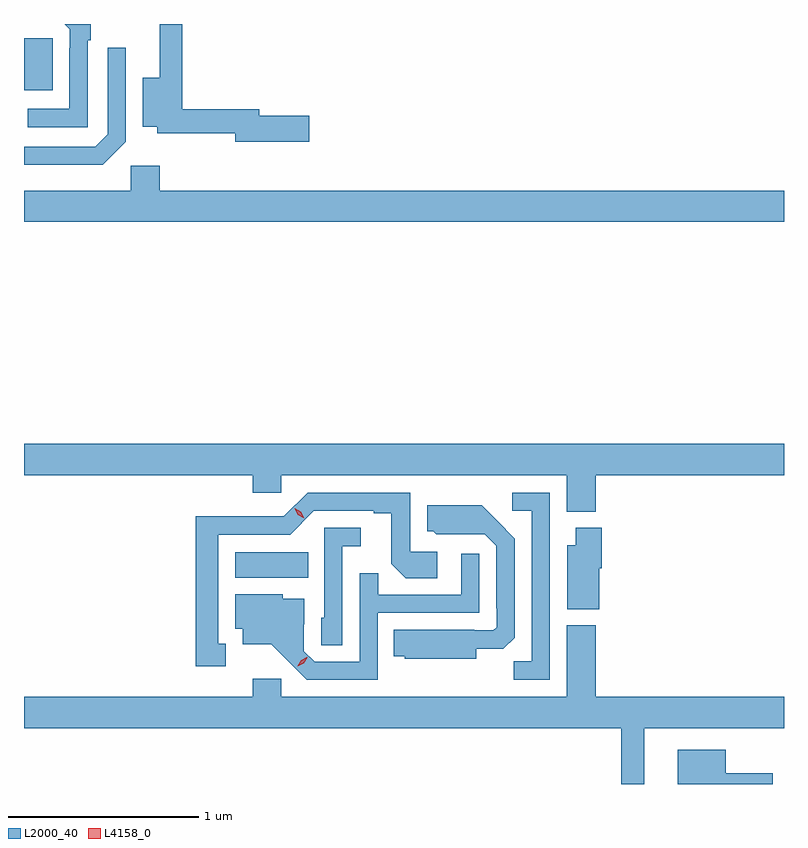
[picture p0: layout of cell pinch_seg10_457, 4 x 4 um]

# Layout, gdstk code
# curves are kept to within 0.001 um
import gdstk
lib = gdstk.Library(unit=1e-6, precision=1e-09)
def R(c, l, rs):  # rectangles x0, y0, x1, y1
    for r in rs: c.add(gdstk.rectangle(r[:2], r[2:], *l))
def P(c, l, *ps):  # polygons
    for p in ps: c.add(gdstk.Polygon(p, *l))
L2000_40 = (2000, 40)
L4158_0 = (4158, 0)

pinch_seg10_457 = lib.new_cell('pinch_seg10_457')
R(pinch_seg10_457, L2000_40, [(289.442,1293.116,289.826,1293.25), (288.331,1295.681,288.481,1295.956)])
P(pinch_seg10_457, L2000_40, [(288.666,1295.945),(288.681,1295.945),(288.681,1296.03),(288.546,1296.03),(288.573,1296.003),(288.573,1295.903),(288.57,1295.903),(288.57,1295.583),(288.351,1295.583),(288.351,1295.487),(288.666,1295.487)],
  [(289.831,1295.546),(289.57,1295.546),(289.57,1295.582),(289.163,1295.582),(289.163,1296.03),(289.046,1296.03),(289.046,1295.746),(288.956,1295.746),(288.956,1295.489),(289.032,1295.489),(289.032,1295.454),(289.442,1295.454),(289.442,1295.411),(289.831,1295.411)],
  [(288.867,1295.409),(288.867,1295.905),(288.771,1295.905),(288.771,1295.451),(288.705,1295.385),(288.331,1295.385),(288.331,1295.288),(288.746,1295.288)],
  [(292.331,1295.152),(289.046,1295.152),(289.046,1295.284),(288.894,1295.284),(288.894,1295.152),(288.331,1295.152),(288.331,1294.988),(292.331,1294.988)],
  [(291.341,1293.656),(292.331,1293.656),(292.331,1293.82),(288.331,1293.82),(288.331,1293.656),(289.535,1293.656),(289.535,1293.563),(289.686,1293.563),(289.686,1293.656),(291.188,1293.656),(291.188,1293.464),(291.341,1293.464)],
  [(289.393,1292.769),(289.354,1292.769),(289.354,1293.342),(289.731,1293.342),(289.857,1293.468),(290.171,1293.468),(290.171,1293.456),(290.265,1293.456),(290.265,1293.188),(290.341,1293.112),(290.506,1293.112),(290.506,1293.252),(290.364,1293.252),(290.364,1293.564),(289.824,1293.564),(289.698,1293.438),(289.476,1293.438),(289.476,1293.44),(289.236,1293.44),(289.236,1292.649),(289.393,1292.649)],
  [(291.099,1293.564),(290.901,1293.564),(290.901,1293.468),(291.003,1293.468),(291.003,1292.675),(290.908,1292.675),(290.908,1292.58),(291.099,1292.58)],
  [(290.71,1292.741),(290.854,1292.741),(290.913,1292.8),(290.913,1293.322),(290.741,1293.496),(290.453,1293.496),(290.453,1293.36),(290.484,1293.36),(290.5,1293.344),(290.757,1293.345),(290.817,1293.285),(290.817,1292.956),(290.82,1292.956),(290.82,1292.856),(290.802,1292.838),(290.702,1292.838),(290.702,1292.842),(290.278,1292.842),(290.278,1292.702),(290.334,1292.702),(290.334,1292.69),(290.71,1292.69)],
  [(291.358,1293.165),(291.371,1293.165),(291.371,1293.379),(291.236,1293.379),(291.236,1293.286),(291.191,1293.286),(291.191,1292.951),(291.358,1292.951)],
  [(290.007,1293.281),(290.104,1293.281),(290.104,1293.378),(289.911,1293.378),(289.911,1292.904),(289.896,1292.904),(289.896,1292.761),(290.007,1292.761)],
  [(290.193,1292.931),(290.727,1292.931),(290.727,1293.241),(290.631,1293.241),(290.631,1293.027),(290.195,1293.027),(290.195,1293.14),(290.097,1293.14),(290.097,1292.673),(289.86,1292.673),(289.803,1292.73),(289.803,1292.872),(289.807,1292.872),(289.807,1293.004),(289.692,1293.004),(289.692,1293.028),(289.442,1293.028),(289.442,1292.846),(289.481,1292.846),(289.481,1292.765),(289.633,1292.765),(289.82,1292.58),(290.193,1292.58)],
  [(291.595,1292.324),(292.331,1292.324),(292.331,1292.488),(291.341,1292.488),(291.341,1292.866),(291.188,1292.866),(291.188,1292.488),(289.686,1292.488),(289.686,1292.584),(289.535,1292.584),(289.535,1292.488),(288.331,1292.488),(288.331,1292.324),(291.474,1292.324),(291.474,1292.03),(291.595,1292.03)],
  [(292.273,1292.086),(292.024,1292.086),(292.024,1292.209),(291.773,1292.209),(291.773,1292.03),(292.273,1292.03)])
P(pinch_seg10_457, L4158_0, [(289.772,1292.651),(289.772,1292.652),(289.79,1292.681),(289.82,1292.696),(289.821,1292.696),(289.821,1292.695),(289.803,1292.666),(289.772,1292.651)],
  [(289.805,1293.429),(289.773,1293.448),(289.756,1293.481),(289.756,1293.481),(289.756,1293.481),(289.788,1293.462),(289.805,1293.43),(289.805,1293.429)])

lib.write_gds('pinch_seg10_457.gds')
